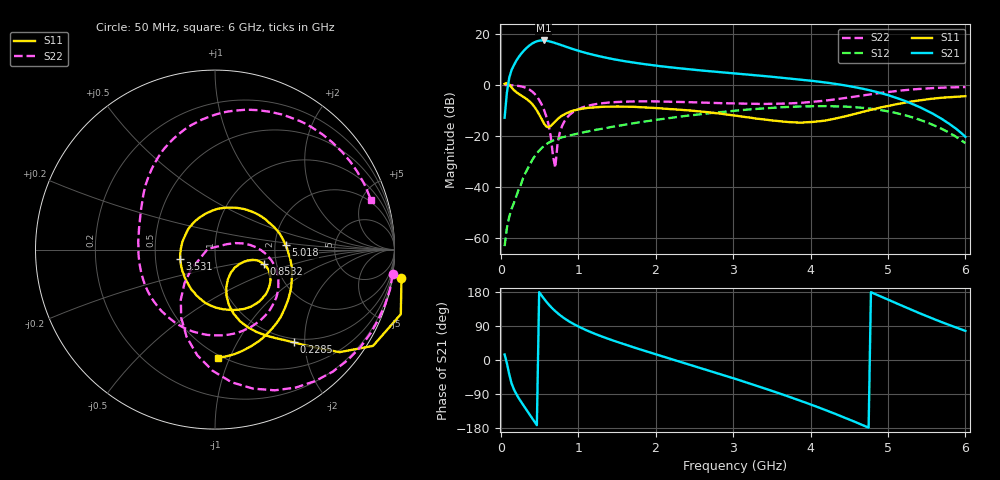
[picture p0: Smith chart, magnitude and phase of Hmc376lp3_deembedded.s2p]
!Hittite Microwave Corporation
!20 Alpha Rd
!Chelmsford, MA 01824
!Tel: 978-250-3343
!Fax: 978-250-3373
!Device: HMC376LP3, 700 - 1000MHz GaAs PHEMT LNA in 3x3mm SMT QFN package
!Misc: Data taken on a part mounted on evaluation PCB 112580-1, Bias: +5VDC,Rbias=10 Ohms
# MHZ S MA R 50
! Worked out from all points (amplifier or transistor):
!   201 points, 50 MHz to 6 GHz, reference 50 ohm
!   highest |S21| = 17.5 dB at 555.8 MHz (marker M1)
!   |S21| within 3 dB of that: 331.9 MHz to 894.4 MHz (562.5 MHz wide, 91.7 % of centre)
!   unconditionally stable (mu >= 1): 139.2 MHz to end of sweep
!   at 1.032 GHz: K = 1.12, MAG = 13.8 dB, |S12| = -18.8 dB
!   at 3.025 GHz: K = 1.09, MAG = 5.5 dB, |S12| = -10.0 dB
!   at 6 GHz: K = 7.91, MAG = -10.7 dB, |S12| = -22.7 dB
!   S11 on the Smith chart (normalised r, x): 50 MHz: -4, -12; 228.5 MHz: 0.93, -1.77; 853.2 MHz: 1.71, -0.30; 3.531 GHz: 0.67, -0.08; 5.018 GHz: 2.29, +0.14; 6 GHz: 0.47, -0.90
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50  1.051 -8.7  0.229 14.5  0.000702 -155.5  1 -8.0
109.5  1.031 -31.4  1.382 -37.6  0.002629 164.0  0.996 -18.0
169  0.801 -43.4  2.433 -76.8  0.004882 157.0  0.984 -28.4
228.5  0.677 -49.7  3.47 -99.4  0.008755 157.8  0.962 -39.9
317.75  0.555 -59.5  5.041 -127.1  0.019 153.3  0.891 -59.6
377.25  0.47 -67.0  6.052 -144.9  0.028 145.8  0.803 -74.7
466.5  0.318 -75.9  7.179 -172.0  0.046 130.1  0.596 -99.6
555.75  0.18 -66.4  7.46 162.4  0.064 112.7  0.337 -124.4
615.25  0.149 -42.5  7.242 147.5  0.074 102.0  0.174 -140.1
674.75  0.175 -22.8  6.852 134.6  0.082 92.7  0.041 174.9
704.5  0.195 -17.9  6.63 128.8  0.085 88.6  0.024 48.1
764  0.235 -14.4  6.189 118.6  0.092 81.3  0.12 17.6
853.25  0.283 -16.6  5.545 105.6  0.1 72.1  0.228 3.4
1061.5  0.346 -27.0  4.41 82.6  0.118 55.8  0.367 -20.0
1448.25  0.379 -46.4  3.222 51.5  0.153 32.9  0.461 -52.1
2043.25  0.352 -73.2  2.358 12.5  0.212 1.6  0.477 -93.4
3025  0.253 -123.0  1.686 -49.5  0.316 -52.9  0.434 -156.8
3530.75  0.201 -164.5  1.441 -83.4  0.36 -84.4  0.429 175.5
4036.5  0.19 132.1  1.199 -119.9  0.385 -119.3  0.47 151.1
4512.5  0.258 64.8  0.945 -158.1  0.374 -156.4  0.576 127.1
5018.25  0.394 3.7  0.622 157.8  0.302 160.0  0.736 93.6
6000  0.605 -88.7  0.097 76.8  0.073 79.9  0.912 17.8
